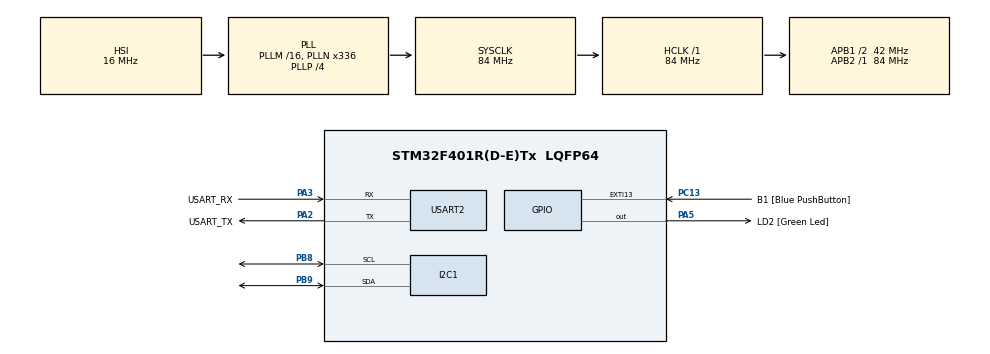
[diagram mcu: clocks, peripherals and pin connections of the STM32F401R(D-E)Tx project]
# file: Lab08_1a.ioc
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Mcu.Family=STM32F4
Mcu.Name=STM32F401R(D-E)Tx
Mcu.Package=LQFP64
NVIC.PriorityGroup=NVIC_PRIORITYGROUP_4
PA13.GPIO_Label=TMS
PA13.Mode=Trace_Asynchronous_SW
PA13.Signal=SYS_JTMS-SWDIO
PA14.GPIO_Label=TCK
PA14.Mode=Trace_Asynchronous_SW
PA14.Signal=SYS_JTCK-SWCLK
PA2.GPIO_Label=USART_TX
PA2.GPIO_Mode=GPIO_MODE_AF_PP
PA2.GPIO_PuPd=GPIO_NOPULL
PA2.GPIO_Speed=GPIO_SPEED_FREQ_LOW
PA2.Mode=Asynchronous
PA2.Signal=USART2_TX
PA3.GPIO_Label=USART_RX
PA3.GPIO_Mode=GPIO_MODE_AF_PP
PA3.GPIO_PuPd=GPIO_NOPULL
PA3.GPIO_Speed=GPIO_SPEED_FREQ_LOW
PA3.Mode=Asynchronous
PA3.Signal=USART2_RX
PA5.GPIO_Label=LD2 [Green Led]
PA5.GPIO_Mode=GPIO_MODE_OUTPUT_PP
PA5.GPIO_PuPd=GPIO_NOPULL
PA5.GPIO_Speed=GPIO_SPEED_FREQ_LOW
PA5.Signal=GPIO_Output
PB3.GPIO_Label=SWO
PB3.Mode=Trace_Asynchronous_SW
PB3.Signal=SYS_JTDO-SWO
PB8.Mode=I2C
PB8.Signal=I2C1_SCL
PB9.Mode=I2C
PB9.Signal=I2C1_SDA
PC13-ANTI_TAMP.GPIO_Label=B1 [Blue PushButton]
PC13-ANTI_TAMP.GPIO_ModeDefaultEXTI=GPIO_MODE_IT_FALLING
PC13-ANTI_TAMP.GPIO_PuPd=GPIO_NOPULL
PC13-ANTI_TAMP.Signal=GPXTI13
PC14-OSC32_IN.Mode=LSE-External-Oscillator
PC14-OSC32_IN.Signal=RCC_OSC32_IN
PC15-OSC32_OUT.Mode=LSE-External-Oscillator
PC15-OSC32_OUT.Signal=RCC_OSC32_OUT
PH0\ -\ OSC_IN.Mode=HSE-External-Clock-Source
PH0\ -\ OSC_IN.Signal=RCC_OSC_IN
PH1\ -\ OSC_OUT.Mode=HSE-External-Clock-Source
PH1\ -\ OSC_OUT.Signal=RCC_OSC_OUT
ProjectManager.HeapSize=0x200
ProjectManager.StackSize=0x400
ProjectManager.TargetToolchain=STM32CubeIDE
RCC.48MHZClocksFreq_Value=48000000
RCC.AHBFreq_Value=84000000
RCC.APB1CLKDivider=RCC_HCLK_DIV2
RCC.APB1Freq_Value=42000000
RCC.APB1TimFreq_Value=84000000
RCC.APB2Freq_Value=84000000
RCC.APB2TimFreq_Value=84000000
RCC.CortexFreq_Value=84000000
RCC.HCLKFreq_Value=84000000
RCC.HSE_VALUE=8000000
RCC.HSI_VALUE=16000000
RCC.PLLN=336
RCC.PLLP=RCC_PLLP_DIV4
RCC.PLLQ=7
RCC.SYSCLKFreq_VALUE=84000000
RCC.SYSCLKSource=RCC_SYSCLKSOURCE_PLLCLK
RCC.VCOOutputFreq_Value=336000000
USART2.VirtualMode=VM_ASYNC
board=NUCLEO-F401RE

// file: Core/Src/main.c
/* USER CODE BEGIN Header */
/**
  ******************************************************************************
  * @file           : main.c
  * @brief          : Main program body
  ******************************************************************************
  * @attention
  *
  * Copyright (c) 2026 STMicroelectronics.
  * All rights reserved.
  *
  * This software is licensed under terms that can be found in the LICENSE file
  * in the root directory of this software component.
  * If no LICENSE file comes with this software, it is provided AS-IS.
  *
  ******************************************************************************
  */
/* USER CODE END Header */
#include "main.h"

/* USER CODE BEGIN Includes */
#include "stdio.h"
#include "string.h"
/* USER CODE END Includes */

/* USER CODE BEGIN PD */
#define LIS2DE_ADDR (0b0101000 << 1)
#define CTRL_REG1_ADDR (0x20)
#define CTRL_REG4_ADDR (0x23)
#define OUT_X_ADDR (0x29)
#define OUT_Y_ADDR (0x2B)
#define OUT_Z_ADDR (0x2D)

/* USER CODE END PD */

I2C_HandleTypeDef hi2c1;

UART_HandleTypeDef huart2;

/* USER CODE BEGIN PV */
uint8_t ctrl1_config=0x17; // 0001 0111
// ODR[3:0] = 0001 -> 1 Hz
// lPen = 0 -> Normal Mode (non low-power)
// Zen, Yen, Xen = 1 -> tutti gli assi abilitati
uint8_t ctrl4_config = 0x00; // default 0000 0000
// FSR = +/-2g e Normal Mode (non Self Test)

uint8_t raw[5];
char message[100];
int n;

float acc_x, acc_y, acc_z;
/* USER CODE END PV */

void SystemClock_Config(void);
static void MX_GPIO_Init(void);
static void MX_USART2_UART_Init(void);
static void MX_I2C1_Init(void);

/* USER CODE BEGIN 0 */
void AccelerometerInitialization(void){
	HAL_I2C_Mem_Write(&hi2c1, LIS2DE_ADDR, CTRL_REG1_ADDR, I2C_MEMADD_SIZE_8BIT, &ctrl1_config, 1, HAL_MAX_DELAY);
	HAL_I2C_Mem_Write(&hi2c1, LIS2DE_ADDR, CTRL_REG4_ADDR, I2C_MEMADD_SIZE_8BIT, &ctrl4_config, 1, HAL_MAX_DELAY);
}
/* USER CODE END 0 */

int main(void)
{

  /* MCU Configuration--------------------------------------------------------*/

  /* Reset of all peripherals, Initializes the Flash interface and the Systick. */
  HAL_Init();

  /* Configure the system clock */
  SystemClock_Config();

  /* Initialize all configured peripherals */
  MX_GPIO_Init();
  MX_USART2_UART_Init();
  MX_I2C1_Init();
  /* USER CODE BEGIN 2 */
  AccelerometerInitialization();

  /* USER CODE END 2 */

  /* Infinite loop */
  while (1)
  {

    /* USER CODE BEGIN 3 */

	  HAL_I2C_Mem_Read(&hi2c1, LIS2DE_ADDR, OUT_X_ADDR | 0x80, I2C_MEMADD_SIZE_8BIT, raw, 5, HAL_MAX_DELAY);

	  acc_x = ((int8_t)raw[0] * 15.6) / 1000.0;  // OUT_X
	  acc_y = ((int8_t)raw[2] * 15.6) / 1000.0;  // OUT_Y (raw[1] è reserved, si scarta)
	  acc_z = ((int8_t)raw[4] * 15.6) / 1000.0;  // OUT_Z (raw[3] è reserved, si scarta)

	  n = sprintf(message, "X: %+.2f g\r\nY: %+.2f g\r\nZ: %+.2f g\r\n", acc_x, acc_y, acc_z);
	  HAL_UART_Transmit(&huart2, (uint8_t*)message, n, HAL_MAX_DELAY);

	  HAL_Delay(1000);

  }
  /* USER CODE END 3 */
}

void SystemClock_Config(void)
{
  RCC_OscInitTypeDef RCC_OscInitStruct = {0};
  RCC_ClkInitTypeDef RCC_ClkInitStruct = {0};

  /** Configure the main internal regulator output voltage
  */
  __HAL_RCC_PWR_CLK_ENABLE();
  __HAL_PWR_VOLTAGESCALING_CONFIG(PWR_REGULATOR_VOLTAGE_SCALE2);

  /** Initializes the RCC Oscillators according to the specified parameters
  * in the RCC_OscInitTypeDef structure.
  */
  RCC_OscInitStruct.OscillatorType = RCC_OSCILLATORTYPE_HSI;
  RCC_OscInitStruct.HSIState = RCC_HSI_ON;
  RCC_OscInitStruct.HSICalibrationValue = RCC_HSICALIBRATION_DEFAULT;
  RCC_OscInitStruct.PLL.PLLState = RCC_PLL_ON;
  RCC_OscInitStruct.PLL.PLLSource = RCC_PLLSOURCE_HSI;
  RCC_OscInitStruct.PLL.PLLM = 16;
  RCC_OscInitStruct.PLL.PLLN = 336;
  RCC_OscInitStruct.PLL.PLLP = RCC_PLLP_DIV4;
  RCC_OscInitStruct.PLL.PLLQ = 7;
  if (HAL_RCC_OscConfig(&RCC_OscInitStruct) != HAL_OK)
  {
    Error_Handler();
  }

  /** Initializes the CPU, AHB and APB buses clocks
  */
  RCC_ClkInitStruct.ClockType = RCC_CLOCKTYPE_HCLK|RCC_CLOCKTYPE_SYSCLK
                              |RCC_CLOCKTYPE_PCLK1|RCC_CLOCKTYPE_PCLK2;
  RCC_ClkInitStruct.SYSCLKSource = RCC_SYSCLKSOURCE_PLLCLK;
  RCC_ClkInitStruct.AHBCLKDivider = RCC_SYSCLK_DIV1;
  RCC_ClkInitStruct.APB1CLKDivider = RCC_HCLK_DIV2;
  RCC_ClkInitStruct.APB2CLKDivider = RCC_HCLK_DIV1;

  if (HAL_RCC_ClockConfig(&RCC_ClkInitStruct, FLASH_LATENCY_2) != HAL_OK)
  {
    Error_Handler();
  }
}

static void MX_I2C1_Init(void)
{

  hi2c1.Instance = I2C1;
  hi2c1.Init.ClockSpeed = 100000;
  hi2c1.Init.DutyCycle = I2C_DUTYCYCLE_2;
  hi2c1.Init.OwnAddress1 = 0;
  hi2c1.Init.AddressingMode = I2C_ADDRESSINGMODE_7BIT;
  hi2c1.Init.DualAddressMode = I2C_DUALADDRESS_DISABLE;
  hi2c1.Init.OwnAddress2 = 0;
  hi2c1.Init.GeneralCallMode = I2C_GENERALCALL_DISABLE;
  hi2c1.Init.NoStretchMode = I2C_NOSTRETCH_DISABLE;
  if (HAL_I2C_Init(&hi2c1) != HAL_OK)
  {
    Error_Handler();
  }

}

static void MX_USART2_UART_Init(void)
{

  huart2.Instance = USART2;
  huart2.Init.BaudRate = 115200;
  huart2.Init.WordLength = UART_WORDLENGTH_8B;
  huart2.Init.StopBits = UART_STOPBITS_1;
  huart2.Init.Parity = UART_PARITY_NONE;
  huart2.Init.Mode = UART_MODE_TX_RX;
  huart2.Init.HwFlowCtl = UART_HWCONTROL_NONE;
  huart2.Init.OverSampling = UART_OVERSAMPLING_16;
  if (HAL_UART_Init(&huart2) != HAL_OK)
  {
    Error_Handler();
  }

}

static void MX_GPIO_Init(void)
{
  GPIO_InitTypeDef GPIO_InitStruct = {0};

  /* GPIO Ports Clock Enable */
  __HAL_RCC_GPIOC_CLK_ENABLE();
  __HAL_RCC_GPIOH_CLK_ENABLE();
  __HAL_RCC_GPIOA_CLK_ENABLE();
  __HAL_RCC_GPIOB_CLK_ENABLE();

  /*Configure GPIO pin Output Level */
  HAL_GPIO_WritePin(LD2_GPIO_Port, LD2_Pin, GPIO_PIN_RESET);

  /*Configure GPIO pin : B1_Pin */
  GPIO_InitStruct.Pin = B1_Pin;
  GPIO_InitStruct.Mode = GPIO_MODE_IT_FALLING;
  GPIO_InitStruct.Pull = GPIO_NOPULL;
  HAL_GPIO_Init(B1_GPIO_Port, &GPIO_InitStruct);

  /*Configure GPIO pin : LD2_Pin */
  GPIO_InitStruct.Pin = LD2_Pin;
  GPIO_InitStruct.Mode = GPIO_MODE_OUTPUT_PP;
  GPIO_InitStruct.Pull = GPIO_NOPULL;
  GPIO_InitStruct.Speed = GPIO_SPEED_FREQ_LOW;
  HAL_GPIO_Init(LD2_GPIO_Port, &GPIO_InitStruct);

}

void Error_Handler(void)
{
  __disable_irq();
  while (1)
  {
  }
}
